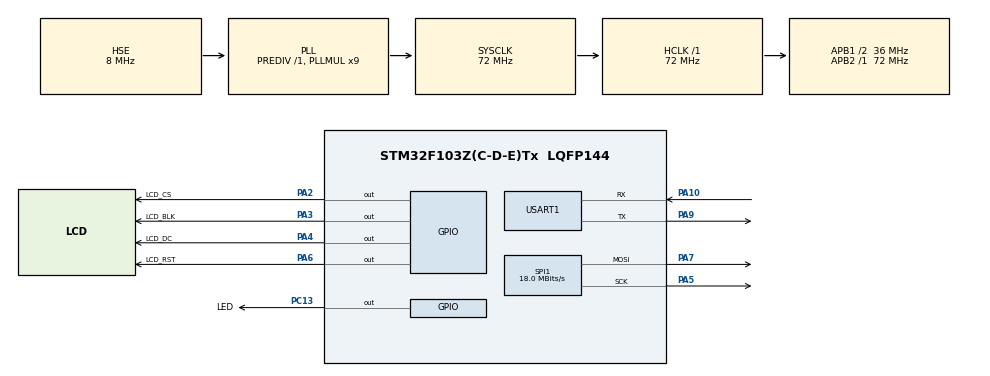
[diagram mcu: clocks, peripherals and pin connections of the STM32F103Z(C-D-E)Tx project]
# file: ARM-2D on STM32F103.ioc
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Dma.Request0=SPI1_TX
Dma.SPI1_TX.0.Direction=DMA_MEMORY_TO_PERIPH
Dma.SPI1_TX.0.Instance=DMA1_Channel3
Dma.SPI1_TX.0.MemDataAlignment=DMA_MDATAALIGN_BYTE
Dma.SPI1_TX.0.MemInc=DMA_MINC_ENABLE
Dma.SPI1_TX.0.Mode=DMA_NORMAL
Dma.SPI1_TX.0.PeriphDataAlignment=DMA_PDATAALIGN_BYTE
Dma.SPI1_TX.0.PeriphInc=DMA_PINC_DISABLE
Dma.SPI1_TX.0.Priority=DMA_PRIORITY_HIGH
Mcu.Family=STM32F1
Mcu.Name=STM32F103Z(C-D-E)Tx
Mcu.Package=LQFP144
NVIC.DMA1_Channel3_IRQn=true\:0\:0\:false\:false\:true\:false\:true
NVIC.PriorityGroup=NVIC_PRIORITYGROUP_4
OSC_IN.Mode=HSE-External-Oscillator
OSC_IN.Signal=RCC_OSC_IN
OSC_OUT.Mode=HSE-External-Oscillator
OSC_OUT.Signal=RCC_OSC_OUT
PA10.Mode=Asynchronous
PA10.Signal=USART1_RX
PA13.Mode=Serial_Wire
PA13.Signal=SYS_JTMS-SWDIO
PA14.Mode=Serial_Wire
PA14.Signal=SYS_JTCK-SWCLK
PA2.GPIO_Label=LCD_CS
PA2.GPIO_PuPd=GPIO_PULLUP
PA2.GPIO_Speed=GPIO_SPEED_FREQ_HIGH
PA2.PinState=GPIO_PIN_SET
PA2.Signal=GPIO_Output
PA3.GPIO_Label=LCD_BLK
PA3.GPIO_ModeDefaultOutputPP=GPIO_MODE_OUTPUT_PP
PA3.GPIO_PuPd=GPIO_PULLDOWN
PA3.GPIO_Speed=GPIO_SPEED_FREQ_HIGH
PA3.PinState=GPIO_PIN_RESET
PA3.Signal=GPIO_Output
PA4.GPIO_Label=LCD_DC
PA4.GPIO_ModeDefaultOutputPP=GPIO_MODE_OUTPUT_PP
PA4.GPIO_PuPd=GPIO_PULLUP
PA4.GPIO_Speed=GPIO_SPEED_FREQ_HIGH
PA4.PinState=GPIO_PIN_SET
PA4.Signal=GPIO_Output
PA5.Mode=TX_Only_Simplex_Unidirect_Master
PA5.Signal=SPI1_SCK
PA6.GPIO_Label=LCD_RST
PA6.GPIO_ModeDefaultOutputPP=GPIO_MODE_OUTPUT_PP
PA6.GPIO_PuPd=GPIO_PULLUP
PA6.GPIO_Speed=GPIO_SPEED_FREQ_HIGH
PA6.PinState=GPIO_PIN_SET
PA6.Signal=GPIO_Output
PA7.Mode=TX_Only_Simplex_Unidirect_Master
PA7.Signal=SPI1_MOSI
PA9.Mode=Asynchronous
PA9.Signal=USART1_TX
PC13-TAMPER-RTC.GPIO_Label=LED
PC13-TAMPER-RTC.GPIO_Speed=GPIO_SPEED_FREQ_HIGH
PC13-TAMPER-RTC.PinState=GPIO_PIN_RESET
PC13-TAMPER-RTC.Signal=GPIO_Output
ProjectManager.HeapSize=0x200
ProjectManager.StackSize=0x400
ProjectManager.TargetToolchain=MDK-ARM V5.27
RCC.AHBFreq_Value=72000000
RCC.APB1CLKDivider=RCC_HCLK_DIV2
RCC.APB1Freq_Value=36000000
RCC.APB1TimFreq_Value=72000000
RCC.APB2Freq_Value=72000000
RCC.APB2TimFreq_Value=72000000
RCC.HCLKFreq_Value=72000000
RCC.PLLMUL=RCC_PLL_MUL9
RCC.PLLSourceVirtual=RCC_PLLSOURCE_HSE
RCC.SYSCLKFreq_VALUE=72000000
RCC.SYSCLKSource=RCC_SYSCLKSOURCE_PLLCLK
RCC.USBFreq_Value=72000000
SPI1.BaudRatePrescaler=SPI_BAUDRATEPRESCALER_4
SPI1.CLKPhase=SPI_PHASE_2EDGE
SPI1.CLKPolarity=SPI_POLARITY_HIGH
SPI1.CalculateBaudRate=18.0 MBits/s
SPI1.Direction=SPI_DIRECTION_2LINES
SPI1.Mode=SPI_MODE_MASTER
SPI1.VirtualType=VM_MASTER
USART1.VirtualMode=VM_ASYNC
board=custom

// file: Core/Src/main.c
/* USER CODE BEGIN Header */
/**
  ******************************************************************************
  * @file           : main.c
  * @brief          : Main program body
  ******************************************************************************
  * @attention
  *
  * <h2><center>&copy; Copyright (c) 2021 STMicroelectronics.
  * All rights reserved.</center></h2>
  *
  * This software component is licensed by ST under BSD 3-Clause license,
  * the "License"; You may not use this file except in compliance with the
  * License. You may obtain a copy of the License at:
  *                        opensource.org/licenses/BSD-3-Clause
  *
  ******************************************************************************
  */
/* USER CODE END Header */
#include "main.h"
#include "dma.h"
#include "spi.h"
#include "usart.h"
#include "gpio.h"

/* USER CODE BEGIN Includes */
#include <stdio.h>
#include "delay.h"
#include "led.h"
#include "LCD_1in3.h"

#include "arm_2d.h"
#include "arm_2d_helper.h"
/* USER CODE END Includes */

/* USER CODE BEGIN PV */
static arm_2d_helper_pfb_t s_tPFBHelper;
/* USER CODE END PV */

void SystemClock_Config(void);

/* USER CODE BEGIN 0 */

static
IMPL_PFB_ON_LOW_LV_RENDERING(__pfb_render_handler)
{
  const arm_2d_tile_t *ptTile = &(ptPFB->tTile);

  ARM_2D_UNUSED(pTarget);
  ARM_2D_UNUSED(bIsNewFrame);

  GLCD_DrawBitmap(ptTile->tRegion.tLocation.iX,
                  ptTile->tRegion.tLocation.iY,
                  ptTile->tRegion.tSize.iWidth,
                  ptTile->tRegion.tSize.iHeight,
                  (uint16_t*)ptTile->pchBuffer);

  arm_2d_helper_pfb_report_rendering_complete(&s_tPFBHelper, (arm_2d_pfb_t *)ptPFB);
}

static
IMPL_PFB_ON_DRAW(__pfb_draw_handler)
{
  ARM_2D_UNUSED(pTarget);
  ARM_2D_UNUSED(bIsNewFrame);

  arm_2d_region_t tBox = {
    .tLocation = {50,50},
    .tSize = {100, 100},    /* 为了不超出边界 这里改小了 */
  };
  //! 背景填充白色
  arm_2d_rgb16_fill_colour(ptTile, NULL, 0xFFFF);
  //! 在box指定的区域绘制黑色影子
  arm_2d_rgb16_fill_colour(ptTile, &tBox, 0x0000);
  //! 适当向左上角移动box
  tBox.tLocation.iX -= 10;
  tBox.tLocation.iY -= 10;
  //! 在box指定的区域填充蓝色，并且使用 50%(128/255)的透明效果
  arm_2d_rgb565_fill_colour_with_alpha(
    ptTile,
    &tBox,
    (arm_2d_color_rgb565_t){0x001F},
    128);      //!< 透明度

  return arm_fsm_rt_cpl;
}
/* USER CODE END 0 */

int main(void)
{
  /* USER CODE BEGIN 1 */
  static uint32_t led_timer = 0;
  /* USER CODE END 1 */

  /* MCU Configuration--------------------------------------------------------*/

  /* Reset of all peripherals, Initializes the Flash interface and the Systick. */
  HAL_Init();

  /* Configure the system clock */
  SystemClock_Config();

  /* Initialize all configured peripherals */
  MX_GPIO_Init();
  MX_DMA_Init();
  MX_SPI1_Init();
  MX_USART1_UART_Init();
  /* USER CODE BEGIN 2 */
  printf("ARM-2D on STM32F103.\r\n");
  printf("Build Time : "__DATE__" "__TIME__"\r\n");
  /* USER CODE END 2 */

  /* Infinite loop */
  /* USER CODE BEGIN WHILE */
  LEDInit();
  LCD_1IN3_Init(VERTICAL);
  arm_2d_init();

  //! initialise FPB helper
  if (ARM_2D_HELPER_PFB_INIT(
        &s_tPFBHelper,     //!< FPB Helper object
        240,               //!< screen width
        240,               //!< screen height
        uint16_t,          //!< colour date type
        240,               //!< PFB block width
        1,                 //!< PFB block height
        1,                 //!< number of PFB in the PFB pool
        {
          .evtOnLowLevelRendering = {
          //! callback for low level rendering
          .fnHandler = &__pfb_render_handler,
          },
          .evtOnDrawing = {
          //! callback for drawing GUI
          .fnHandler = &__pfb_draw_handler,
        },
      },
      // .FrameBuffer.bSwapRGB16 = true,
    ) < 0) {
    //! error detected
    assert(false);
  }

  led_timer = GetSysTime();
  while (1)
  {
    /* USER CODE END WHILE */

    /* USER CODE BEGIN 3 */

    if(SysTimeExceed(led_timer, 500) == TIME_IS_ARRIVED)
    {
      led_timer = GetSysTime();

      LEDToggle(led);
    }

    //! call partial framebuffer helper service
    while(arm_fsm_rt_cpl != arm_2d_helper_pfb_task(&s_tPFBHelper, NULL));
  }
  /* USER CODE END 3 */
}

void SystemClock_Config(void)
{
  RCC_OscInitTypeDef RCC_OscInitStruct = {0};
  RCC_ClkInitTypeDef RCC_ClkInitStruct = {0};

  /** Initializes the RCC Oscillators according to the specified parameters
  * in the RCC_OscInitTypeDef structure.
  */
  RCC_OscInitStruct.OscillatorType = RCC_OSCILLATORTYPE_HSE;
  RCC_OscInitStruct.HSEState = RCC_HSE_ON;
  RCC_OscInitStruct.HSEPredivValue = RCC_HSE_PREDIV_DIV1;
  RCC_OscInitStruct.HSIState = RCC_HSI_ON;
  RCC_OscInitStruct.PLL.PLLState = RCC_PLL_ON;
  RCC_OscInitStruct.PLL.PLLSource = RCC_PLLSOURCE_HSE;
  RCC_OscInitStruct.PLL.PLLMUL = RCC_PLL_MUL9;
  if (HAL_RCC_OscConfig(&RCC_OscInitStruct) != HAL_OK)
  {
    Error_Handler();
  }
  /** Initializes the CPU, AHB and APB buses clocks
  */
  RCC_ClkInitStruct.ClockType = RCC_CLOCKTYPE_HCLK|RCC_CLOCKTYPE_SYSCLK
                              |RCC_CLOCKTYPE_PCLK1|RCC_CLOCKTYPE_PCLK2;
  RCC_ClkInitStruct.SYSCLKSource = RCC_SYSCLKSOURCE_PLLCLK;
  RCC_ClkInitStruct.AHBCLKDivider = RCC_SYSCLK_DIV1;
  RCC_ClkInitStruct.APB1CLKDivider = RCC_HCLK_DIV2;
  RCC_ClkInitStruct.APB2CLKDivider = RCC_HCLK_DIV1;

  if (HAL_RCC_ClockConfig(&RCC_ClkInitStruct, FLASH_LATENCY_2) != HAL_OK)
  {
    Error_Handler();
  }
}

void Error_Handler(void)
{
  __disable_irq();
  while (1)
  {
  }
}

/************************ (C) COPYRIGHT STMicroelectronics *****END OF FILE****/
